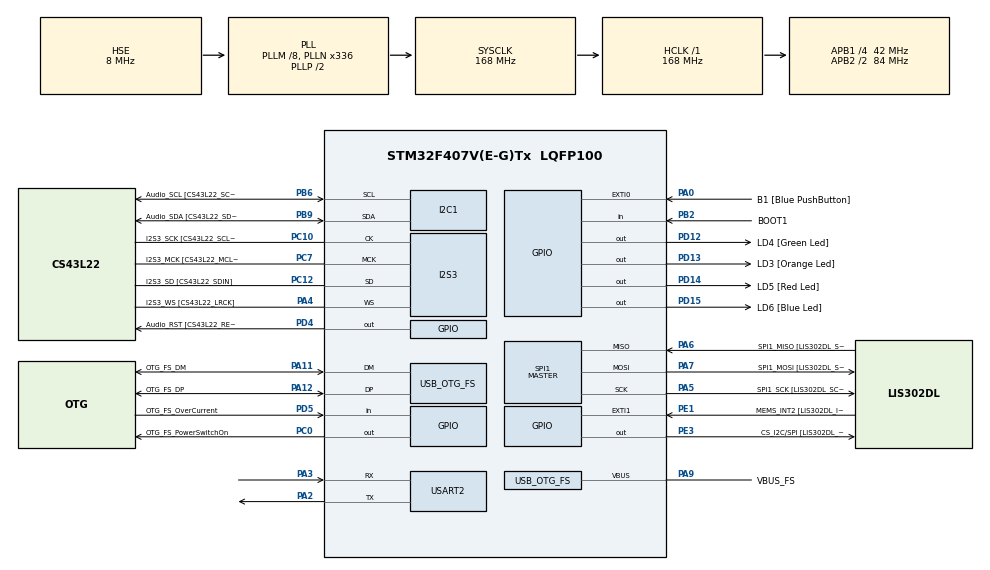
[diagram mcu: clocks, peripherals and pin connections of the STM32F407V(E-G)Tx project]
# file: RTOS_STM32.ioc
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I2S3.AudioFreq-Half_Duplex_Master=I2S_AUDIOFREQ_96K
I2S3.ErrorAudioFreq=-2.34 %
I2S3.ErrorAudioFreq-Half_Duplex_Master=0.8 %
I2S3.FullDuplexMode=I2S_FULLDUPLEXMODE_DISABLE
I2S3.Instance=SPI$Index
I2S3.RealAudioFreq=93.75 KHz
I2S3.RealAudioFreq-Half_Duplex_Master=96.774 KHz
I2S3.VirtualMode=I2S_MODE_MASTER
Mcu.Family=STM32F4
Mcu.Name=STM32F407V(E-G)Tx
Mcu.Package=LQFP100
NVIC.EXTI0_IRQn=true\:6\:0\:true\:false\:true\:true\:true\:true
NVIC.OTG_FS_IRQn=true\:0\:0\:false\:false\:true\:true\:true\:true
NVIC.PriorityGroup=NVIC_PRIORITYGROUP_4
NVIC.TIM6_DAC_IRQn=true\:0\:0\:false\:false\:true\:false\:true\:true
NVIC.TimeBase=TIM6_DAC_IRQn
NVIC.TimeBaseIP=TIM6
NVIC.USART2_IRQn=true\:6\:0\:true\:false\:true\:true\:true\:true
PA0-WKUP.GPIO_Label=B1 [Blue PushButton]
PA0-WKUP.GPIO_ModeDefaultEXTI=GPIO_MODE_IT_FALLING
PA0-WKUP.GPIO_PuPd=GPIO_NOPULL
PA0-WKUP.Signal=GPXTI0
PA10.GPIO_Label=OTG_FS_ID
PA10.GPIO_Mode=GPIO_MODE_AF_PP
PA10.GPIO_PuPd=GPIO_NOPULL
PA10.GPIO_Speed=GPIO_SPEED_FREQ_LOW
PA10.Signal=USB_OTG_FS_ID
PA11.GPIO_Label=OTG_FS_DM
PA11.GPIO_Mode=GPIO_MODE_AF_PP
PA11.GPIO_PuPd=GPIO_NOPULL
PA11.GPIO_Speed=GPIO_SPEED_FREQ_LOW
PA11.Mode=Host_Only
PA11.Signal=USB_OTG_FS_DM
PA12.GPIO_Label=OTG_FS_DP
PA12.GPIO_Mode=GPIO_MODE_AF_PP
PA12.GPIO_PuPd=GPIO_NOPULL
PA12.GPIO_Speed=GPIO_SPEED_FREQ_LOW
PA12.Mode=Host_Only
PA12.Signal=USB_OTG_FS_DP
PA13.GPIO_Label=SWDIO
PA13.Mode=Serial_Wire
PA13.Signal=SYS_JTMS-SWDIO
PA14.GPIO_Label=SWCLK
PA14.Mode=Serial_Wire
PA14.Signal=SYS_JTCK-SWCLK
PA2.Mode=Asynchronous
PA2.Signal=USART2_TX
PA3.Mode=Asynchronous
PA3.Signal=USART2_RX
PA4.GPIO_Label=I2S3_WS [CS43L22_LRCK]
PA4.GPIO_Mode=GPIO_MODE_AF_PP
PA4.GPIO_PuPd=GPIO_NOPULL
PA4.GPIO_Speed=GPIO_SPEED_FREQ_LOW
PA4.Mode=Half_Duplex_Master
PA4.Signal=I2S3_WS
PA5.GPIO_Label=SPI1_SCK [LIS302DL_SCL/SPC]
PA5.GPIO_Mode=GPIO_MODE_AF_PP
PA5.GPIO_PuPd=GPIO_NOPULL
PA5.GPIO_Speed=GPIO_SPEED_FREQ_LOW
PA5.Mode=Full_Duplex_Master
PA5.Signal=SPI1_SCK
PA6.GPIO_Label=SPI1_MISO [LIS302DL_SDO]
PA6.GPIO_Mode=GPIO_MODE_AF_PP
PA6.GPIO_PuPd=GPIO_NOPULL
PA6.GPIO_Speed=GPIO_SPEED_FREQ_LOW
PA6.Mode=Full_Duplex_Master
PA6.Signal=SPI1_MISO
PA7.GPIO_Label=SPI1_MOSI [LIS302DL_SDA/SDI/SDO]
PA7.GPIO_Mode=GPIO_MODE_AF_PP
PA7.GPIO_PuPd=GPIO_NOPULL
PA7.GPIO_Speed=GPIO_SPEED_FREQ_LOW
PA7.Mode=Full_Duplex_Master
PA7.Signal=SPI1_MOSI
PA9.GPIO_Label=VBUS_FS
PA9.GPIO_Mode=GPIO_MODE_INPUT
PA9.GPIO_PuPd=GPIO_NOPULL
PA9.Mode=Activate_VBUS
PA9.Signal=USB_OTG_FS_VBUS
PB10.GPIO_Label=CLK_IN [MP45DT02_CLK]
PB10.GPIO_Mode=GPIO_MODE_AF_PP
PB10.GPIO_PuPd=GPIO_NOPULL
PB10.GPIO_Speed=GPIO_SPEED_FREQ_LOW
PB10.Signal=I2S2_CK
PB2.GPIO_Label=BOOT1
PB2.GPIO_Mode=GPIO_MODE_INPUT
PB2.GPIO_PuPd=GPIO_NOPULL
PB2.Signal=GPIO_Input
PB3.GPIO_Label=SWO
PB3.Signal=SYS_JTDO-SWO
PB6.GPIO_Label=Audio_SCL [CS43L22_SCL]
PB6.GPIO_Mode=GPIO_MODE_AF_OD
PB6.GPIO_Pu=GPIO_PULLUP
PB6.GPIO_PuPd=GPIO_NOPULL
PB6.GPIO_Speed=GPIO_SPEED_FREQ_LOW
PB6.Mode=I2C
PB6.Signal=I2C1_SCL
PB9.GPIO_Label=Audio_SDA [CS43L22_SDA]
PB9.GPIO_Mode=GPIO_MODE_AF_OD
PB9.GPIO_Pu=GPIO_PULLUP
PB9.GPIO_PuPd=GPIO_NOPULL
PB9.GPIO_Speed=GPIO_SPEED_FREQ_LOW
PB9.Mode=I2C
PB9.Signal=I2C1_SDA
PC0.GPIO_Label=OTG_FS_PowerSwitchOn
PC0.GPIO_PuPd=GPIO_NOPULL
PC0.GPIO_Speed=GPIO_SPEED_FREQ_LOW
PC0.PinState=GPIO_PIN_SET
PC0.Signal=GPIO_Output
PC10.GPIO_Label=I2S3_SCK [CS43L22_SCLK]
PC10.GPIO_Mode=GPIO_MODE_AF_PP
PC10.GPIO_PuPd=GPIO_NOPULL
PC10.GPIO_Speed=GPIO_SPEED_FREQ_LOW
PC10.Mode=Half_Duplex_Master
PC10.Signal=I2S3_CK
PC12.GPIO_Label=I2S3_SD [CS43L22_SDIN]
PC12.GPIO_Mode=GPIO_MODE_AF_PP
PC12.GPIO_PuPd=GPIO_NOPULL
PC12.GPIO_Speed=GPIO_SPEED_FREQ_LOW
PC12.Mode=Half_Duplex_Master
PC12.Signal=I2S3_SD
PC14-OSC32_IN.GPIO_Label=PC14-OSC32_IN
PC14-OSC32_IN.Mode=LSE-External-Oscillator
PC14-OSC32_IN.Signal=RCC_OSC32_IN
PC15-OSC32_OUT.GPIO_Label=PC15-OSC32_OUT
PC15-OSC32_OUT.Mode=LSE-External-Oscillator
PC15-OSC32_OUT.Signal=RCC_OSC32_OUT
PC3.GPIO_Label=PDM_OUT [MP45DT02_DOUT]
PC3.GPIO_Mode=GPIO_MODE_AF_PP
PC3.GPIO_PuPd=GPIO_NOPULL
PC3.GPIO_Speed=GPIO_SPEED_FREQ_LOW
PC3.Signal=I2S2_SD
PC7.GPIO_Label=I2S3_MCK [CS43L22_MCLK]
PC7.GPIO_Mode=GPIO_MODE_AF_PP
PC7.GPIO_PuPd=GPIO_NOPULL
PC7.GPIO_Speed=GPIO_SPEED_FREQ_LOW
PC7.Mode=Master_Clock_Activated
PC7.Signal=I2S3_MCK
PD12.GPIO_Label=LD4 [Green Led]
PD12.GPIO_PuPd=GPIO_NOPULL
PD12.GPIO_Speed=GPIO_SPEED_FREQ_LOW
PD12.Signal=GPIO_Output
PD13.GPIO_Label=LD3 [Orange Led]
PD13.GPIO_PuPd=GPIO_NOPULL
PD13.GPIO_Speed=GPIO_SPEED_FREQ_LOW
PD13.Signal=GPIO_Output
PD14.GPIO_Label=LD5 [Red Led]
PD14.GPIO_PuPd=GPIO_NOPULL
PD14.GPIO_Speed=GPIO_SPEED_FREQ_LOW
PD14.Signal=GPIO_Output
PD15.GPIO_Label=LD6 [Blue Led]
PD15.GPIO_PuPd=GPIO_NOPULL
PD15.GPIO_Speed=GPIO_SPEED_FREQ_LOW
PD15.Signal=GPIO_Output
PD4.GPIO_Label=Audio_RST [CS43L22_RESET]
PD4.GPIO_PuPd=GPIO_NOPULL
PD4.GPIO_Speed=GPIO_SPEED_FREQ_LOW
PD4.Signal=GPIO_Output
PD5.GPIO_Label=OTG_FS_OverCurrent
PD5.GPIO_Mode=GPIO_MODE_INPUT
PD5.GPIO_PuPd=GPIO_NOPULL
PD5.Signal=GPIO_Input
PE1.GPIO_Label=MEMS_INT2 [LIS302DL_INT2]
PE1.GPIO_ModeDefaultEXTI=GPIO_MODE_EVT_RISING
PE1.GPIO_PuPd=GPIO_NOPULL
PE1.Signal=GPXTI1
PE3.GPIO_Label=CS_I2C/SPI [LIS302DL_CS_I2C/SPI]
PE3.GPIO_PuPd=GPIO_NOPULL
PE3.GPIO_Speed=GPIO_SPEED_FREQ_LOW
PE3.Signal=GPIO_Output
PH0-OSC_IN.GPIO_Label=PH0-OSC_IN
PH0-OSC_IN.Mode=HSE-External-Oscillator
PH0-OSC_IN.Signal=RCC_OSC_IN
PH1-OSC_OUT.GPIO_Label=PH1-OSC_OUT
PH1-OSC_OUT.Mode=HSE-External-Oscillator
PH1-OSC_OUT.Signal=RCC_OSC_OUT
ProjectManager.HeapSize=0x200
ProjectManager.StackSize=0x400
ProjectManager.TargetToolchain=STM32CubeIDE
RCC.48MHZClocksFreq_Value=48000000
RCC.AHBFreq_Value=168000000
RCC.APB1CLKDivider=RCC_HCLK_DIV4
RCC.APB1Freq_Value=42000000
RCC.APB1TimFreq_Value=84000000
RCC.APB2CLKDivider=RCC_HCLK_DIV2
RCC.APB2Freq_Value=84000000
RCC.APB2TimFreq_Value=168000000
RCC.CortexFreq_Value=168000000
RCC.HCLKFreq_Value=168000000
RCC.HSE_VALUE=8000000
RCC.HSI_VALUE=16000000
RCC.PLLM=8
RCC.PLLN=336
RCC.PLLQ=7
RCC.SYSCLKFreq_VALUE=168000000
RCC.SYSCLKSource=RCC_SYSCLKSOURCE_PLLCLK
RCC.VCOOutputFreq_Value=336000000
RTC.HourFormat=RTC_HOURFORMAT_12
SPI1.BaudRatePrescaler-Full_Duplex_Master=SPI_BAUDRATEPRESCALER_2
SPI1.CalculateBaudRate-Full_Duplex_Master=42.0 MBits/s
SPI1.Direction=SPI_DIRECTION_2LINES
SPI1.Mode=SPI_MODE_MASTER
SPI1.Mode-Full_Duplex_Master=SPI_MODE_MASTER
SPI1.VirtualType=VM_MASTER
USART2.VirtualMode=VM_ASYNC
USB_HOST.BSP.number=1
USB_HOST.USBH_HandleTypeDef-CDC_FS=hUsbHostFS
USB_HOST.VirtualModeFS=Cdc
USB_HOST0.BSP.STBoard=false
USB_HOST0.BSP.api=Unknown
USB_HOST0.BSP.instance=PC0
USB_HOST0.BSP.ip=GPIO
USB_HOST0.BSP.mode=Output
USB_HOST0.BSP.name=Drive_VBUS_FS
USB_HOST0.BSP.solution=PC0
USB_OTG_FS.VirtualMode=Host_Only
USB_OTG_FS.phy_itface=HCD_PHY_EMBEDDED
VP_RTC_VS_RTC_Activate.Mode=RTC_Enabled
VP_RTC_VS_RTC_Calendar.Mode=RTC_Calendar
VP_SYS_VS_tim6.Mode=TIM6
VP_USB_HOST_VS_USB_HOST_CDC_FS.Mode=CDC_FS
board=STM32F407G-DISC1

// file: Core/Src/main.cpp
/* USER CODE BEGIN Header */
/**
  ******************************************************************************
  * @file           : main.c
  * @brief          : Main program body
  ******************************************************************************
  * @attention
  *
  * Copyright (c) 2024 STMicroelectronics.
  * All rights reserved.
  *
  * This software is licensed under terms that can be found in the LICENSE file
  * in the root directory of this software component.
  * If no LICENSE file comes with this software, it is provided AS-IS.
  *
  ******************************************************************************
  */
/* USER CODE END Header */
#include "main.h"
#include "SEGGER_SYSVIEW_FreeRTOS.h"
#include "FreeRTOS.h"
#include "portmacro.h"
#include "task.h"
#include "stm32f4xx_hal_uart.h"
#include "usb_host.h"

/* USER CODE BEGIN Includes */
#include <string.h>
#include <stdlib.h>

#include "task.hpp"
#include "ProtocolMCAL.hpp"
#include "foundation_utils.hpp"
#include "init/init.hpp"
#include "init/connect.hpp"
#include "semphr.h"
/* USER CODE END Includes */

/* USER CODE BEGIN PTD */
extern RTC_HandleTypeDef hrtc;
extern QueueHandle_t g_taskIdQueueCont_ptr;
extern xSemaphoreHandle g_taskIdSemprSignal_ptr;
extern xSemaphoreHandle g_interruptLatchedSempr_ptr;

using TaskIdType = uint8_t;
/* USER CODE END PTD */

/* USER CODE BEGIN PD */
namespace
{
    constexpr BaseType_t g_taskIdQueueLength_u8{2U};
    constexpr UBaseType_t g_taskIdSize{sizeof(TaskIdType)};
    constexpr UBaseType_t g_interruptLatchedSemprMaxCount_cu8{10U};
    constexpr UBaseType_t g_interruptLatchedSemprnitialCount_cu8{0U};
}

QueueHandle_t g_taskIdQueueCont_ptr{nullptr};
xSemaphoreHandle g_taskIdSemprSignal_ptr{nullptr};
xSemaphoreHandle g_interruptLatchedSempr_ptr{nullptr};
/* USER CODE END PD */

I2C_HandleTypeDef hi2c1;

I2S_HandleTypeDef hi2s3;

RTC_HandleTypeDef hrtc;

SPI_HandleTypeDef hspi1;

extern UART_HandleTypeDef huart2;
UART_HandleTypeDef huart2{};

/* USER CODE BEGIN PV */
constexpr uint16_t g_userSize_cu8{1000U};

static BaseType_t taskCreationResult{pdFAIL};
static uint8_t g_userData[g_userSize_cu8]{0U};

namespace Task{
  extern bool isInputClicked;
  bool isInputClicked{false};
} //end of namespace Task

namespace{
/*NetCom::NetRunnable g_userNetRunnable_st{};*/
BaseType_t g_transmitLockingFlag_u16{pdFALSE};
}//anonymous namespace
/* USER CODE END PV */

void SystemClock_Config(void);
static void MX_GPIO_Init(void);
static void MX_I2C1_Init(void);
static void MX_I2S3_Init(void);
static void MX_SPI1_Init(void);
static void MX_USART2_UART_Init(void);
static void MX_RTC_Init(void);
void MX_USB_HOST_Process(void);

int main(void)
{

    /* MCU Configuration--------------------------------------------------------*/

    /* Reset of all peripherals, Initializes the Flash interface and the Systick. */
    HAL_Init();

    /* USER CODE BEGIN Init */
    g_taskIdQueueCont_ptr = xQueueCreate(g_taskIdQueueLength_u8, g_taskIdSize);
    g_taskIdSemprSignal_ptr = xSemaphoreCreateBinary();
    g_interruptLatchedSempr_ptr = xSemaphoreCreateCounting(g_interruptLatchedSemprMaxCount_cu8, g_interruptLatchedSemprnitialCount_cu8);
    /* USER CODE END Init */

    /* Configure the system clock */
    SystemClock_Config();

    /* Initialize all configured peripherals */
    MX_GPIO_Init();
    MX_I2C1_Init();
    MX_I2S3_Init();
    MX_SPI1_Init();
    /*MX_USB_HOST_Init();*/
    MX_USART2_UART_Init();
    MX_RTC_Init();
    /* USER CODE BEGIN 2 */

    ///Receive an amount of data in interrupt mode till either the expected number of data is received or an IDLE event occurs.
    static_cast<void>(HAL_UARTEx_ReceiveToIdle_IT(&huart2, g_userData, g_userSize_cu8));

    ///Enabel Cycle Counter of CPU for timestamp trackign
    DWT_Type * const cortexM4DWTReg{DWT};
    cortexM4DWTReg->CTRL |= DWT_CTRL_CYCCNTENA_Msk;

    SEGGER_SYSVIEW_Conf();
    SEGGER_SYSVIEW_Start();

    if( (g_taskIdQueueCont_ptr != nullptr) && (g_taskIdSemprSignal_ptr != nullptr) &&
        (g_interruptLatchedSempr_ptr != nullptr))
    {
        taskCreationResult = Task::createTasks();
        init();       /* init for inter-task communication entities */
        connect();    /* connect inter-task communication entities */

        vTaskStartScheduler();
    }

    ///PC returned to main, scheduler start is failed
    /* USER CODE END 2 */

    /* Infinite loop */
    while (1)
    {
    //MX_USB_HOST_Process();

    }
}

void SystemClock_Config(void)
{
  RCC_OscInitTypeDef RCC_OscInitStruct = {0};
  RCC_ClkInitTypeDef RCC_ClkInitStruct = {0};

  /** Configure the main internal regulator output voltage
  */
  __HAL_RCC_PWR_CLK_ENABLE();
  __HAL_PWR_VOLTAGESCALING_CONFIG(PWR_REGULATOR_VOLTAGE_SCALE1);

  /** Initializes the RCC Oscillators according to the specified parameters
  * in the RCC_OscInitTypeDef structure.
  */
  RCC_OscInitStruct.OscillatorType = RCC_OSCILLATORTYPE_LSI|RCC_OSCILLATORTYPE_HSE;
  RCC_OscInitStruct.HSEState = RCC_HSE_ON;
  RCC_OscInitStruct.LSIState = RCC_LSI_ON;
  RCC_OscInitStruct.PLL.PLLState = RCC_PLL_ON;
  RCC_OscInitStruct.PLL.PLLSource = RCC_PLLSOURCE_HSE;
  RCC_OscInitStruct.PLL.PLLM = 8;
  RCC_OscInitStruct.PLL.PLLN = 336;
  RCC_OscInitStruct.PLL.PLLP = RCC_PLLP_DIV2;
  RCC_OscInitStruct.PLL.PLLQ = 7;
  if (HAL_RCC_OscConfig(&RCC_OscInitStruct) != HAL_OK)
  {
    Error_Handler();
  }

  /** Initializes the CPU, AHB and APB buses clocks
  */
  RCC_ClkInitStruct.ClockType = RCC_CLOCKTYPE_HCLK|RCC_CLOCKTYPE_SYSCLK
                              |RCC_CLOCKTYPE_PCLK1|RCC_CLOCKTYPE_PCLK2;
  RCC_ClkInitStruct.SYSCLKSource = RCC_SYSCLKSOURCE_PLLCLK;
  RCC_ClkInitStruct.AHBCLKDivider = RCC_SYSCLK_DIV1;
  RCC_ClkInitStruct.APB1CLKDivider = RCC_HCLK_DIV4;
  RCC_ClkInitStruct.APB2CLKDivider = RCC_HCLK_DIV2;

  if (HAL_RCC_ClockConfig(&RCC_ClkInitStruct, FLASH_LATENCY_5) != HAL_OK)
  {
    Error_Handler();
  }
}

static void MX_I2C1_Init(void)
{

  hi2c1.Instance = I2C1;
  hi2c1.Init.ClockSpeed = 100000;
  hi2c1.Init.DutyCycle = I2C_DUTYCYCLE_2;
  hi2c1.Init.OwnAddress1 = 0;
  hi2c1.Init.AddressingMode = I2C_ADDRESSINGMODE_7BIT;
  hi2c1.Init.DualAddressMode = I2C_DUALADDRESS_DISABLE;
  hi2c1.Init.OwnAddress2 = 0;
  hi2c1.Init.GeneralCallMode = I2C_GENERALCALL_DISABLE;
  hi2c1.Init.NoStretchMode = I2C_NOSTRETCH_DISABLE;
  if (HAL_I2C_Init(&hi2c1) != HAL_OK)
  {
    Error_Handler();
  }

}

static void MX_I2S3_Init(void)
{

  hi2s3.Instance = SPI3;
  hi2s3.Init.Mode = I2S_MODE_MASTER_TX;
  hi2s3.Init.Standard = I2S_STANDARD_PHILIPS;
  hi2s3.Init.DataFormat = I2S_DATAFORMAT_16B;
  hi2s3.Init.MCLKOutput = I2S_MCLKOUTPUT_ENABLE;
  hi2s3.Init.AudioFreq = I2S_AUDIOFREQ_96K;
  hi2s3.Init.CPOL = I2S_CPOL_LOW;
  hi2s3.Init.ClockSource = I2S_CLOCK_PLL;
  hi2s3.Init.FullDuplexMode = I2S_FULLDUPLEXMODE_DISABLE;
  if (HAL_I2S_Init(&hi2s3) != HAL_OK)
  {
    Error_Handler();
  }

}

static void MX_RTC_Init(void)
{

  RTC_TimeTypeDef sTime = {0};
  RTC_DateTypeDef sDate = {0};

  /** Initialize RTC Only
  */
  hrtc.Instance = RTC;
  hrtc.Init.HourFormat = RTC_HOURFORMAT_12;
  hrtc.Init.AsynchPrediv = 127;
  hrtc.Init.SynchPrediv = 255;
  hrtc.Init.OutPut = RTC_OUTPUT_DISABLE;
  hrtc.Init.OutPutPolarity = RTC_OUTPUT_POLARITY_HIGH;
  hrtc.Init.OutPutType = RTC_OUTPUT_TYPE_OPENDRAIN;
  if (HAL_RTC_Init(&hrtc) != HAL_OK)
  {
    Error_Handler();
  }

  /** Initialize RTC and set the Time and Date
  */
  sTime.Hours = 0x1;
  sTime.Minutes = 0x0;
  sTime.Seconds = 0x0;
  sTime.TimeFormat = RTC_HOURFORMAT12_AM;
  sTime.DayLightSaving = RTC_DAYLIGHTSAVING_NONE;
  sTime.StoreOperation = RTC_STOREOPERATION_RESET;
  if (HAL_RTC_SetTime(&hrtc, &sTime, RTC_FORMAT_BCD) != HAL_OK)
  {
    Error_Handler();
  }
  sDate.WeekDay = RTC_WEEKDAY_MONDAY;
  sDate.Month = RTC_MONTH_JANUARY;
  sDate.Date = 0x1;
  sDate.Year = 0x0;

  if (HAL_RTC_SetDate(&hrtc, &sDate, RTC_FORMAT_BCD) != HAL_OK)
  {
    Error_Handler();
  }

}

static void MX_SPI1_Init(void)
{

  /* SPI1 parameter configuration*/
  hspi1.Instance = SPI1;
  hspi1.Init.Mode = SPI_MODE_MASTER;
  hspi1.Init.Direction = SPI_DIRECTION_2LINES;
  hspi1.Init.DataSize = SPI_DATASIZE_8BIT;
  hspi1.Init.CLKPolarity = SPI_POLARITY_LOW;
  hspi1.Init.CLKPhase = SPI_PHASE_1EDGE;
  hspi1.Init.NSS = SPI_NSS_SOFT;
  hspi1.Init.BaudRatePrescaler = SPI_BAUDRATEPRESCALER_2;
  hspi1.Init.FirstBit = SPI_FIRSTBIT_MSB;
  hspi1.Init.TIMode = SPI_TIMODE_DISABLE;
  hspi1.Init.CRCCalculation = SPI_CRCCALCULATION_DISABLE;
  hspi1.Init.CRCPolynomial = 10;
  if (HAL_SPI_Init(&hspi1) != HAL_OK)
  {
    Error_Handler();
  }

}

static void MX_USART2_UART_Init(void)
{

  huart2.Instance = USART2;
  huart2.Init.BaudRate = 115200;
  huart2.Init.WordLength = UART_WORDLENGTH_8B;
  huart2.Init.StopBits = UART_STOPBITS_1;
  huart2.Init.Parity = UART_PARITY_NONE;
  huart2.Init.Mode = UART_MODE_TX_RX;
  huart2.Init.HwFlowCtl = UART_HWCONTROL_NONE;
  huart2.Init.OverSampling = UART_OVERSAMPLING_16;
  if (HAL_UART_Init(&huart2) != HAL_OK)
  {
    Error_Handler();
  }

}

static void MX_GPIO_Init(void)
{
  GPIO_InitTypeDef GPIO_InitStruct = {0};

  /* GPIO Ports Clock Enable */
  __HAL_RCC_GPIOE_CLK_ENABLE();
  __HAL_RCC_GPIOC_CLK_ENABLE();
  __HAL_RCC_GPIOH_CLK_ENABLE();
  __HAL_RCC_GPIOA_CLK_ENABLE();
  __HAL_RCC_GPIOB_CLK_ENABLE();
  __HAL_RCC_GPIOD_CLK_ENABLE();

  /*Configure GPIO pin Output Level */
  HAL_GPIO_WritePin(CS_I2C_SPI_GPIO_Port, CS_I2C_SPI_Pin, GPIO_PIN_RESET);

  /*Configure GPIO pin Output Level */
  HAL_GPIO_WritePin(OTG_FS_PowerSwitchOn_GPIO_Port, OTG_FS_PowerSwitchOn_Pin, GPIO_PIN_SET);

  /*Configure GPIO pin Output Level */
  HAL_GPIO_WritePin(GPIOD, LD4_Pin|LD3_Pin|LD5_Pin|LD6_Pin
                          |Audio_RST_Pin, GPIO_PIN_RESET);

  /*Configure GPIO pin : CS_I2C_SPI_Pin */
  GPIO_InitStruct.Pin = CS_I2C_SPI_Pin;
  GPIO_InitStruct.Mode = GPIO_MODE_OUTPUT_PP;
  GPIO_InitStruct.Pull = GPIO_NOPULL;
  GPIO_InitStruct.Speed = GPIO_SPEED_FREQ_LOW;
  HAL_GPIO_Init(CS_I2C_SPI_GPIO_Port, &GPIO_InitStruct);

  /*Configure GPIO pin : OTG_FS_PowerSwitchOn_Pin */
  GPIO_InitStruct.Pin = OTG_FS_PowerSwitchOn_Pin;
  GPIO_InitStruct.Mode = GPIO_MODE_OUTPUT_PP;
  GPIO_InitStruct.Pull = GPIO_NOPULL;
  GPIO_InitStruct.Speed = GPIO_SPEED_FREQ_LOW;
  HAL_GPIO_Init(OTG_FS_PowerSwitchOn_GPIO_Port, &GPIO_InitStruct);

  /*Configure GPIO pin : PDM_OUT_Pin */
  GPIO_InitStruct.Pin = PDM_OUT_Pin;
  GPIO_InitStruct.Mode = GPIO_MODE_AF_PP;
  GPIO_InitStruct.Pull = GPIO_NOPULL;
  GPIO_InitStruct.Speed = GPIO_SPEED_FREQ_LOW;
  GPIO_InitStruct.Alternate = GPIO_AF5_SPI2;
  HAL_GPIO_Init(PDM_OUT_GPIO_Port, &GPIO_InitStruct);

  /*Configure GPIO pin : B1_Pin */
  GPIO_InitStruct.Pin = B1_Pin;
  GPIO_InitStruct.Mode = GPIO_MODE_IT_FALLING;
  GPIO_InitStruct.Pull = GPIO_NOPULL;
  HAL_GPIO_Init(B1_GPIO_Port, &GPIO_InitStruct);

  /*Configure GPIO pin : BOOT1_Pin */
  GPIO_InitStruct.Pin = BOOT1_Pin;
  GPIO_InitStruct.Mode = GPIO_MODE_INPUT;
  GPIO_InitStruct.Pull = GPIO_NOPULL;
  HAL_GPIO_Init(BOOT1_GPIO_Port, &GPIO_InitStruct);

  /*Configure GPIO pin : CLK_IN_Pin */
  GPIO_InitStruct.Pin = CLK_IN_Pin;
  GPIO_InitStruct.Mode = GPIO_MODE_AF_PP;
  GPIO_InitStruct.Pull = GPIO_NOPULL;
  GPIO_InitStruct.Speed = GPIO_SPEED_FREQ_LOW;
  GPIO_InitStruct.Alternate = GPIO_AF5_SPI2;
  HAL_GPIO_Init(CLK_IN_GPIO_Port, &GPIO_InitStruct);

  /*Configure GPIO pins : LD4_Pin LD3_Pin LD5_Pin LD6_Pin
                           Audio_RST_Pin */
  GPIO_InitStruct.Pin = LD4_Pin|LD3_Pin|LD5_Pin|LD6_Pin
                          |Audio_RST_Pin;
  GPIO_InitStruct.Mode = GPIO_MODE_OUTPUT_PP;
  GPIO_InitStruct.Pull = GPIO_NOPULL;
  GPIO_InitStruct.Speed = GPIO_SPEED_FREQ_LOW;
  HAL_GPIO_Init(GPIOD, &GPIO_InitStruct);

  /*Configure GPIO pin : OTG_FS_OverCurrent_Pin */
  GPIO_InitStruct.Pin = OTG_FS_OverCurrent_Pin;
  GPIO_InitStruct.Mode = GPIO_MODE_INPUT;
  GPIO_InitStruct.Pull = GPIO_NOPULL;
  HAL_GPIO_Init(OTG_FS_OverCurrent_GPIO_Port, &GPIO_InitStruct);

  /*Configure GPIO pin : MEMS_INT2_Pin */
  GPIO_InitStruct.Pin = MEMS_INT2_Pin;
  GPIO_InitStruct.Mode = GPIO_MODE_EVT_RISING;
  GPIO_InitStruct.Pull = GPIO_NOPULL;
  HAL_GPIO_Init(MEMS_INT2_GPIO_Port, &GPIO_InitStruct);

  /* EXTI interrupt init*/
  HAL_NVIC_SetPriority(EXTI0_IRQn, 6, 0);
  //HAL_NVIC_EnableIRQ(EXTI0_IRQn);

}

/* USER CODE BEGIN 4 */
void HAL_GPIO_EXTI_Callback(uint16_t GPIO_Pin)
{
    //traceISR_ENTER();
    if((GPIO_Pin == B1_Pin) && (taskCreationResult == pdPASS))
    {
        BaseType_t xHigherPriorityTaskWoken_u16{pdFALSE};
        //global resource, need access block instructions
        //portENTER_CRITICAL();
        //Task::isInputClicked = true;
        //portEXIT_CRITICAL();
        xSemaphoreGiveFromISR(g_interruptLatchedSempr_ptr, &xHigherPriorityTaskWoken_u16);
        xSemaphoreGiveFromISR(g_interruptLatchedSempr_ptr, &xHigherPriorityTaskWoken_u16);
        xSemaphoreGiveFromISR(g_interruptLatchedSempr_ptr, &xHigherPriorityTaskWoken_u16);
        xSemaphoreGiveFromISR(g_interruptLatchedSempr_ptr, &xHigherPriorityTaskWoken_u16);
        xSemaphoreGiveFromISR(g_interruptLatchedSempr_ptr, &xHigherPriorityTaskWoken_u16);

        if(xHigherPriorityTaskWoken_u16 == pdTRUE)
        {
            portEND_SWITCHING_ISR(pdTRUE);
        }
    }
    //traceISR_EXIT();
}

void HAL_UARTEx_RxEventCallback(UART_HandleTypeDef *huart, uint16_t Size)
{
  if(huart == &huart2)
  {
	///work around to use malloc

    uint8_t* l_receivedUserData = new uint8_t[Size]{};
    memcpy(static_cast<void*>(l_receivedUserData),
           static_cast<const void*>(&g_userData),
           Size);
    NetCom::netComReceive(l_receivedUserData, Size);
    delete [](l_receivedUserData);
    static_cast<void>(HAL_UARTEx_ReceiveToIdle_IT(&huart2, g_userData, g_userSize_cu8));
  }
}
/* USER CODE END 4 */

void HAL_TIM_PeriodElapsedCallback(TIM_HandleTypeDef *htim)
{
  if (htim->Instance == TIM6) {
    HAL_IncTick();
  }
}

namespace portable{
  inline bool netComIsTransmitInProgress(void)
  {
    return (g_transmitLockingFlag_u16 == pdTRUE);
  }

  void userDefinedTxTransmit(const uint8_t* dataPtr_pu8, const uint8_t dataSize_cu8)
  {
    if(netComIsTransmitInProgress())
    {
      ///do nothing
    }
    else
    {
      g_transmitLockingFlag_u16 = pdTRUE;
      HAL_UART_Transmit_IT(&huart2, dataPtr_pu8, dataSize_cu8);
    }
  }

}

void HAL_UART_TxCpltCallback(UART_HandleTypeDef *huart)
{
  if(huart == &huart2)
  {
//    NetCom::ProtocolHardwareObjHandler curObj_st{nullptr, 0U};
//    BaseType_t xHigherPriorityTaskWoken_u16{pdFALSE};
//    g_transmitLockingFlag_u16 = pdFALSE; //Transmit success, remove lock
//    UNUSED(xQueueReceiveFromISR(NetCom::g_MCALQueueHandler_st, &curObj_st, &xHigherPriorityTaskWoken_u16));
//    UNUSED(curObj_st);
//    if(xHigherPriorityTaskWoken_u16 == pdTRUE)
//    {
//      taskYIELD(); ///preemption for higher priority task woken by xQueueReceiveFromISR()
//    }
  }
}
void Error_Handler(void)
{
  __disable_irq();
  while (1)
  {
  }
}
